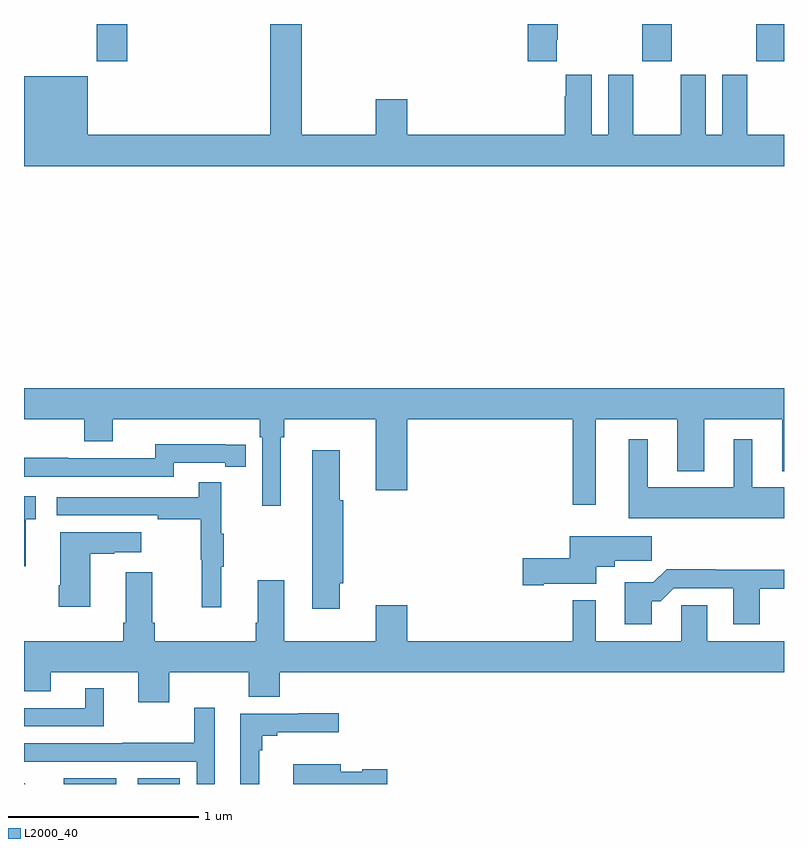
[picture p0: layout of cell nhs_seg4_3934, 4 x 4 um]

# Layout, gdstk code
import gdstk
lib = gdstk.Library(unit=1e-6, precision=1e-09)
def R(c, l, rs):  # rectangles x0, y0, x1, y1
    for r in rs: c.add(gdstk.rectangle(r[:2], r[2:], *l))
def P(c, l, *ps):  # polygons
    for p in ps: c.add(gdstk.Polygon(p, *l))
L2000_40 = (2000, 40)

nhs_seg4_3934 = lib.new_cell('nhs_seg4_3934')
R(nhs_seg4_3934, L2000_40, [(319.208,794.9,319.486,794.929), (319.598,794.9,319.819,794.929), (319.384,798.705,319.544,798.9), (322.255,798.705,322.41,798.9), (322.855,798.705,323,798.9)])
P(nhs_seg4_3934, L2000_40, [(321.805,798.817),(321.81,798.817),(321.81,798.9),(321.65,798.9),(321.65,798.705),(321.805,798.705)],
  [(323,798.316),(322.807,798.316),(322.807,798.634),(322.676,798.634),(322.676,798.316),(322.588,798.316),(322.588,798.634),(322.457,798.634),(322.457,798.316),(322.207,798.316),(322.207,798.634),(322.076,798.634),(322.076,798.316),(321.988,798.316),(321.988,798.634),(321.851,798.634),(321.851,798.521),(321.845,798.521),(321.845,798.316),(321.016,798.316),(321.016,798.505),(320.852,798.505),(320.852,798.316),(320.461,798.316),(320.461,798.9),(320.297,798.9),(320.297,798.316),(319.336,798.316),(319.336,798.625),(319,798.625),(319,798.152),(323,798.152)],
  [(320.35,796.724),(320.369,796.724),(320.369,796.82),(320.852,796.82),(320.852,796.446),(321.016,796.446),(321.016,796.82),(321.888,796.82),(321.888,796.371),(322.009,796.371),(322.009,796.82),(322.439,796.82),(322.439,796.547),(322.579,796.547),(322.579,796.82),(322.991,796.82),(322.991,796.547),(323,796.547),(323,796.984),(319,796.984),(319,796.82),(319.316,796.82),(319.316,796.703),(319.468,796.703),(319.468,796.82),(320.24,796.82),(320.24,796.724),(320.253,796.724),(320.253,796.365),(320.35,796.365)],
  [(323,796.462),(322.834,796.462),(322.834,796.714),(322.736,796.714),(322.736,796.462),(322.282,796.462),(322.282,796.714),(322.184,796.714),(322.184,796.298),(323,796.298)],
  [(319.788,796.59),(320.06,796.59),(320.06,796.57),(320.168,796.57),(320.168,796.686),(320.06,796.686),(320.06,796.687),(319.692,796.687),(319.692,796.614),(319.232,796.614),(319.232,796.616),(319,796.616),(319,796.518),(319.788,796.518)],
  [(320.662,795.957),(320.68,795.957),(320.68,796.393),(320.662,796.393),(320.662,796.657),(320.516,796.657),(320.516,795.822),(320.662,795.822)],
  [(320.039,796.043),(320.05,796.043),(320.05,796.217),(320.039,796.217),(320.039,796.489),(319.921,796.489),(319.921,796.41),(319.173,796.41),(319.173,796.314),(319.705,796.314),(319.705,796.294),(319.929,796.294),(319.929,796.08),(319.936,796.08),(319.936,795.831),(320.039,795.831)],
  [(319.01,796.293),(319.063,796.293),(319.063,796.414),(319,796.414),(319,796.047),(319.01,796.047)],
  [(319.348,796.111),(319.475,796.111),(319.475,796.121),(319.618,796.121),(319.618,796.225),(319.19,796.225),(319.19,795.946),(319.183,795.946),(319.183,795.834),(319.348,795.834)],
  [(321.736,795.953),(322.012,795.953),(322.012,796.043),(322.108,796.043),(322.108,796.075),(322.303,796.075),(322.303,796.204),(321.872,796.204),(321.872,796.088),(321.624,796.088),(321.624,795.946),(321.736,795.946)],
  [(322.303,795.863),(322.352,795.863),(322.419,795.93),(322.733,795.93),(322.733,795.741),(322.873,795.741),(322.873,795.927),(323,795.927),(323,796.028),(322.637,796.028),(322.637,796.031),(322.382,796.031),(322.312,795.961),(322.163,795.961),(322.163,795.741),(322.303,795.741)],
  [(319.765,795.488),(320.183,795.488),(320.183,795.36),(320.347,795.36),(320.347,795.488),(323,795.488),(323,795.652),(322.597,795.652),(322.597,795.842),(322.458,795.842),(322.458,795.652),(322.009,795.652),(322.009,795.868),(321.888,795.868),(321.888,795.652),(321.016,795.652),(321.016,795.841),(320.852,795.841),(320.852,795.652),(320.371,795.652),(320.371,795.973),(320.231,795.973),(320.231,795.748),(320.219,795.748),(320.219,795.652),(319.688,795.652),(319.688,795.748),(319.675,795.748),(319.675,796.015),(319.535,796.015),(319.535,795.748),(319.523,795.748),(319.523,795.652),(319,795.652),(319,795.389),(319.141,795.389),(319.141,795.488),(319.601,795.488),(319.601,795.33),(319.765,795.33)],
  [(319.421,795.403),(319.322,795.403),(319.322,795.3),(319,795.3),(319,795.204),(319.421,795.204)],
  [(320.005,795.301),(319.896,795.301),(319.896,795.116),(319.516,795.116),(319.516,795.114),(319,795.114),(319,795.018),(319.908,795.018),(319.908,794.9),(320.005,794.9)],
  [(320.237,795.077),(320.255,795.077),(320.255,795.154),(320.332,795.154),(320.332,795.173),(320.656,795.173),(320.656,795.272),(320.443,795.272),(320.443,795.27),(320.138,795.27),(320.138,794.9),(320.237,794.9)],
  [(320.911,794.978),(320.781,794.978),(320.781,794.965),(320.668,794.965),(320.668,795.004),(320.417,795.004),(320.417,794.9),(320.911,794.9)],
  [(319.003,794.904),(319,794.904),(319,794.9),(319.007,794.9)])

lib.write_gds('nhs_seg4_3934.gds')
